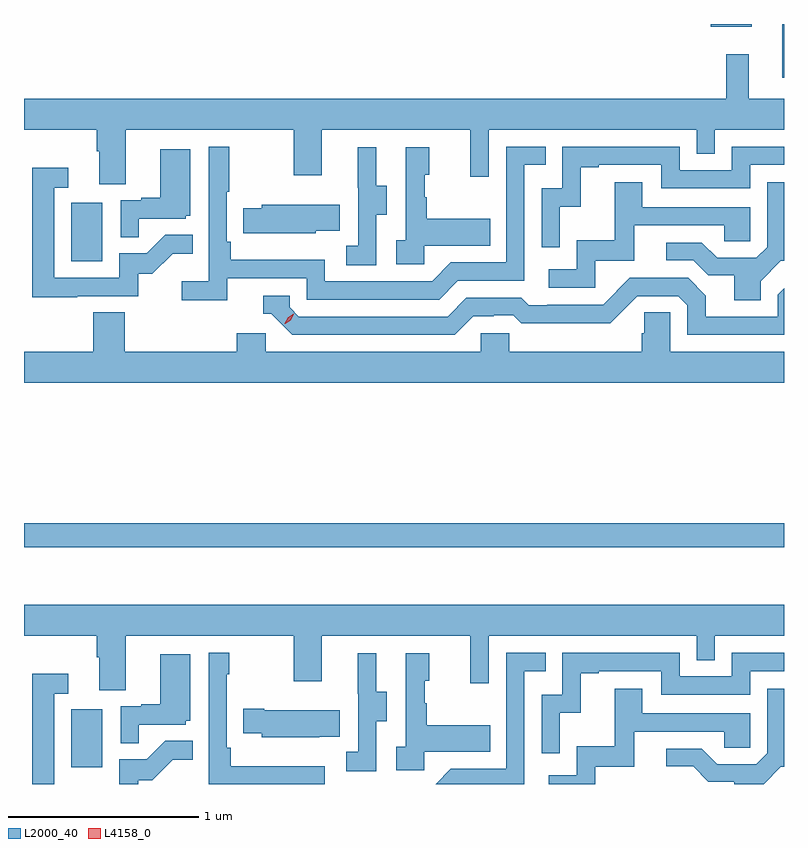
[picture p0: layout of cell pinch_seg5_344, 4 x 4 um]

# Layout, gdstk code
import gdstk
lib = gdstk.Library(unit=1e-6, precision=1e-09)
def R(c, l, rs):  # rectangles x0, y0, x1, y1
    for r in rs: c.add(gdstk.rectangle(r[:2], r[2:], *l))
def P(c, l, *ps):  # polygons
    for p in ps: c.add(gdstk.Polygon(p, *l))
L2000_40 = (2000, 40)
L4158_0 = (4158, 0)

pinch_seg5_344 = lib.new_cell('pinch_seg5_344')
R(pinch_seg5_344, L2000_40, [(963.854,877.38,964.018,877.687), (963.606,878.538,967.606,878.666), (963.854,880.044,964.018,880.351), (967.598,881.01,967.606,881.293), (967.22,881.279,967.435,881.293)])
P(pinch_seg5_344, L2000_40, [(964.141,880.736),(965.026,880.736),(965.026,880.497),(965.173,880.497),(965.173,880.736),(965.954,880.736),(965.954,880.488),(966.051,880.488),(966.051,880.736),(967.146,880.736),(967.146,880.609),(967.242,880.609),(967.242,880.736),(967.606,880.736),(967.606,880.9),(967.421,880.9),(967.421,881.134),(967.303,881.134),(967.303,880.9),(963.606,880.9),(963.606,880.736),(963.989,880.736),(963.989,880.624),(964.001,880.624),(964.001,880.45),(964.141,880.45)],
  [(964.676,879.954),(965.094,879.954),(965.094,879.843),(965.791,879.843),(965.89,879.942),(966.24,879.942),(966.24,880.551),(966.353,880.551),(966.353,880.647),(966.144,880.647),(966.144,880.038),(965.853,880.038),(965.754,879.939),(965.19,879.939),(965.19,880.051),(964.693,880.051),(964.693,880.147),(964.674,880.147),(964.674,880.411),(964.687,880.411),(964.687,880.648),(964.578,880.648),(964.578,879.94),(964.437,879.94),(964.437,879.838),(964.676,879.838)],
  [(966.426,880.331),(966.536,880.331),(966.536,880.539),(966.631,880.539),(966.631,880.551),(966.96,880.551),(966.96,880.428),(967.428,880.428),(967.428,880.551),(967.606,880.551),(967.606,880.647),(967.332,880.647),(967.332,880.524),(967.056,880.524),(967.056,880.647),(966.438,880.647),(966.438,880.428),(966.33,880.428),(966.33,880.119),(966.426,880.119)],
  [(965.712,880.127),(966.059,880.127),(966.059,880.267),(965.725,880.267),(965.725,880.382),(965.715,880.382),(965.715,880.5),(965.74,880.5),(965.74,880.645),(965.616,880.645),(965.616,880.154),(965.565,880.154),(965.565,880.029),(965.712,880.029)],
  [(965.46,880.288),(965.515,880.288),(965.515,880.443),(965.461,880.443),(965.461,880.645),(965.363,880.645),(965.363,880.431),(965.364,880.431),(965.364,880.127),(965.301,880.127),(965.301,880.024),(965.46,880.024)],
  [(964.211,880.269),(964.458,880.269),(964.458,880.284),(964.48,880.284),(964.48,880.633),(964.322,880.633),(964.322,880.378),(964.223,880.378),(964.223,880.365),(964.116,880.365),(964.116,880.171),(964.211,880.171)],
  [(963.887,879.861),(964.206,879.861),(964.206,879.978),(964.282,879.978),(964.389,880.085),(964.493,880.085),(964.493,880.184),(964.349,880.184),(964.251,880.086),(964.107,880.086),(964.107,879.957),(963.765,879.957),(963.765,880.431),(963.838,880.431),(963.838,880.537),(963.649,880.537),(963.649,879.856),(963.887,879.856)],
  [(966.612,880.047),(966.817,880.047),(966.817,880.233),(967.291,880.233),(967.291,880.149),(967.428,880.149),(967.428,880.329),(966.859,880.329),(966.859,880.459),(966.715,880.459),(966.715,880.156),(966.516,880.156),(966.516,880.002),(966.369,880.002),(966.369,879.906),(966.612,879.906)],
  [(967.483,879.94),(967.59,880.047),(967.606,880.047),(967.606,880.459),(967.518,880.459),(967.518,880.119),(967.461,880.062),(967.255,880.062),(967.174,880.143),(966.987,880.143),(966.987,880.05),(967.128,880.05),(967.208,879.97),(967.343,879.97),(967.343,879.838),(967.483,879.838)],
  [(965.142,880.205),(965.267,880.205),(965.267,880.342),(964.857,880.342),(964.857,880.323),(964.759,880.323),(964.759,880.193),(965.142,880.193)],
  [(965.971,879.756),(966.078,879.756),(966.078,879.759),(966.181,879.759),(966.223,879.717),(966.456,879.717),(966.456,879.719),(966.692,879.719),(966.834,879.861),(967.05,879.861),(967.098,879.813),(967.098,879.657),(967.606,879.657),(967.606,879.901),(967.572,879.867),(967.572,879.753),(967.195,879.753),(967.195,879.863),(967.101,879.957),(966.795,879.957),(966.654,879.816),(966.361,879.816),(966.361,879.813),(966.262,879.813),(966.223,879.852),(965.934,879.852),(965.835,879.753),(965.052,879.753),(965.004,879.801),(965.004,879.864),(964.865,879.864),(964.865,879.768),(964.908,879.768),(965.019,879.657),(965.872,879.657)],
  [(967.606,879.568),(967.008,879.568),(967.008,879.776),(966.871,879.776),(966.871,879.666),(966.857,879.666),(966.857,879.568),(966.159,879.568),(966.159,879.666),(966.009,879.666),(966.009,879.568),(964.878,879.568),(964.878,879.666),(964.727,879.666),(964.727,879.568),(964.136,879.568),(964.136,879.776),(963.971,879.776),(963.971,879.568),(963.606,879.568),(963.606,879.404),(967.606,879.404)],
  [(964.141,878.072),(965.026,878.072),(965.026,877.833),(965.173,877.833),(965.173,878.072),(965.954,878.072),(965.954,877.824),(966.051,877.824),(966.051,878.072),(967.146,878.072),(967.146,877.945),(967.242,877.945),(967.242,878.072),(967.606,878.072),(967.606,878.236),(963.606,878.236),(963.606,878.072),(963.989,878.072),(963.989,877.96),(964.001,877.96),(964.001,877.786),(964.141,877.786)],
  [(965.19,877.387),(964.694,877.387),(964.694,877.483),(964.674,877.483),(964.674,877.871),(964.687,877.871),(964.687,877.984),(964.578,877.984),(964.578,877.293),(965.19,877.293)],
  [(966.426,877.667),(966.536,877.667),(966.536,877.875),(966.631,877.875),(966.631,877.887),(966.96,877.887),(966.96,877.764),(967.428,877.764),(967.428,877.887),(967.606,877.887),(967.606,877.983),(967.332,877.983),(967.332,877.86),(967.056,877.86),(967.056,877.983),(966.438,877.983),(966.438,877.764),(966.33,877.764),(966.33,877.455),(966.426,877.455)],
  [(966.24,877.887),(966.353,877.887),(966.353,877.983),(966.144,877.983),(966.144,877.374),(965.853,877.374),(965.772,877.293),(966.24,877.293)],
  [(965.46,877.624),(965.515,877.624),(965.515,877.779),(965.461,877.779),(965.461,877.981),(965.363,877.981),(965.363,877.767),(965.364,877.767),(965.364,877.463),(965.301,877.463),(965.301,877.36),(965.46,877.36)],
  [(965.712,877.463),(966.059,877.463),(966.059,877.603),(965.725,877.603),(965.725,877.718),(965.715,877.718),(965.715,877.836),(965.74,877.836),(965.74,877.981),(965.616,877.981),(965.616,877.49),(965.565,877.49),(965.565,877.365),(965.712,877.365)],
  [(964.211,877.605),(964.458,877.605),(964.458,877.626),(964.48,877.626),(964.48,877.975),(964.322,877.975),(964.322,877.714),(964.223,877.714),(964.223,877.701),(964.116,877.701),(964.116,877.507),(964.211,877.507)],
  [(964.206,877.314),(964.282,877.314),(964.389,877.421),(964.493,877.421),(964.493,877.52),(964.349,877.52),(964.251,877.422),(964.107,877.422),(964.107,877.293),(964.206,877.293)],
  [(967.59,877.383),(967.606,877.383),(967.606,877.795),(967.518,877.795),(967.518,877.455),(967.461,877.398),(967.255,877.398),(967.174,877.479),(966.987,877.479),(966.987,877.386),(967.128,877.386),(967.208,877.306),(967.343,877.306),(967.343,877.293),(967.5,877.293)],
  [(966.612,877.383),(966.817,877.383),(966.817,877.569),(967.291,877.569),(967.291,877.485),(967.428,877.485),(967.428,877.665),(966.859,877.665),(966.859,877.795),(966.715,877.795),(966.715,877.492),(966.516,877.492),(966.516,877.338),(966.369,877.338),(966.369,877.293),(966.612,877.293)],
  [(965.159,877.541),(965.267,877.541),(965.267,877.681),(964.87,877.681),(964.87,877.689),(964.759,877.689),(964.759,877.559),(964.857,877.559),(964.857,877.538),(965.159,877.538)],
  [(963.838,877.767),(963.838,877.873),(963.649,877.873),(963.649,877.293),(963.765,877.293),(963.765,877.767)])
P(pinch_seg5_344, L4158_0, [(964.979,879.716),(964.979,879.717),(964.996,879.749),(965.027,879.768),(965.027,879.768),(965.027,879.768),(965.01,879.735),(964.98,879.716)])

lib.write_gds('pinch_seg5_344.gds')
